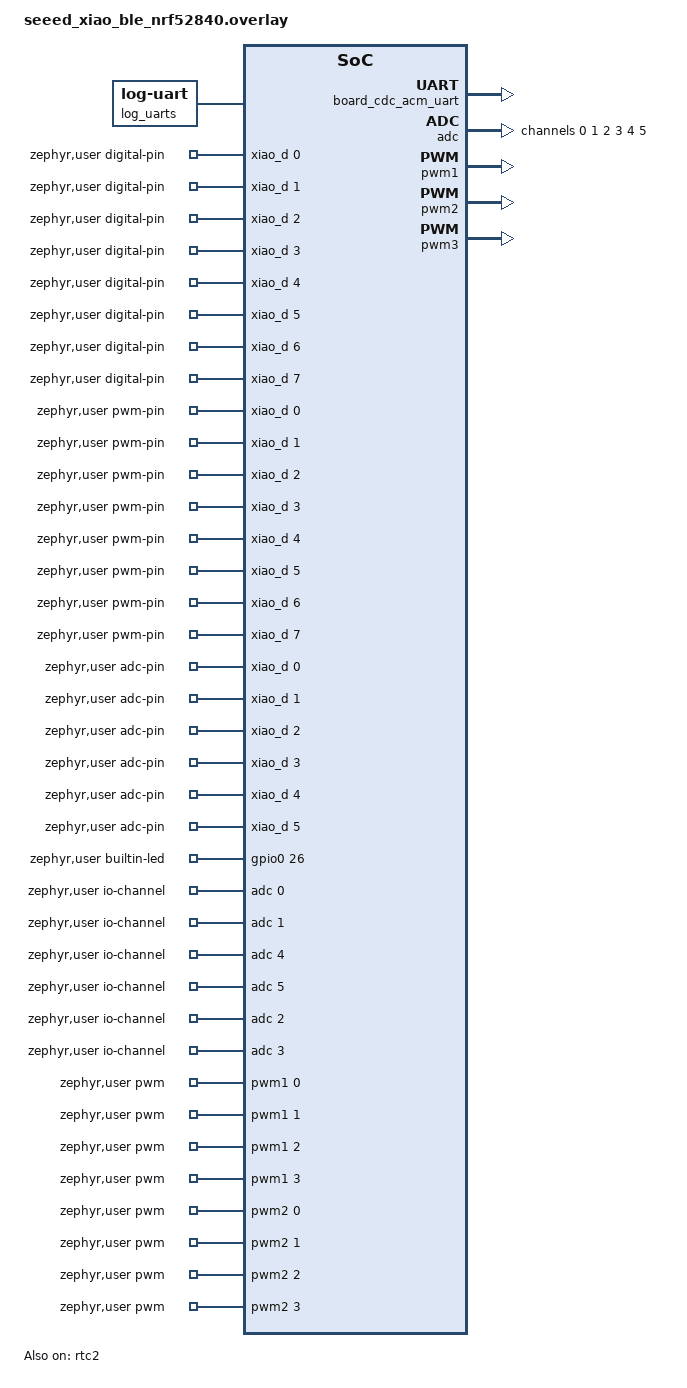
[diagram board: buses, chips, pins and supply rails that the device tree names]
/*
 * Copyright (c) 2026 Seeed Studio
 *
 * SPDX-License-Identifier: Apache-2.0
 */

&zephyr_udc0 {
	board_cdc_acm_uart: board_cdc_acm_uart {
		compatible = "zephyr,cdc-acm-uart";
		status = "okay";
	};
};

/*
 * Seeed Studio XIAO nRF52840 ships with the Adafruit nRF52 USB Bootloader
 * placed at the END of flash. The SoftDevice-reserved layout provided by
 * the board definition is preserved and a user sketch partition is carved
 * out of the Application partition.
 */
&flash0 {
	partitions {
		compatible = "fixed-partitions";
		#address-cells = <1>;
		#size-cells = <1>;

		code_partition: partition@27000 {
			label = "code";
			reg = <0x00027000 0x00059000>;
			read-only;
		};

		user_sketch: partition@80000 {
			label = "user";
			reg = <0x00080000 0x0006c000>;
		};

		storage_partition: partition@ec000 {
			label = "storage";
			reg = <0x000ec000 0x00008000>;
		};

		boot_partition: partition@f4000 {
			label = "UF2";
			reg = <0x000f4000 0x0000c000>;
			read-only;
		};
	};
};

/ {
	chosen {
		zephyr,log-uart = &log_uarts;
	};

	log_uarts: log_uarts {
		compatible = "zephyr,log-uart";
		uarts = <&uart0 &board_cdc_acm_uart>;
	};
};

/ {
	zephyr,user {
		digital-pin-gpios = <&xiao_d 0 0>,	/* D0  - P0.02 / AIN0 */
				    <&xiao_d 1 0>,	/* D1  - P0.03 / AIN1 */
				    <&xiao_d 2 0>,	/* D2  - P0.28 / AIN4 */
				    <&xiao_d 3 0>,	/* D3  - P0.29 / AIN5 */
				    <&xiao_d 4 0>,	/* D4  - P0.04 / AIN2 / SDA */
				    <&xiao_d 5 0>,	/* D5  - P0.05 / AIN3 / SCL */
				    <&xiao_d 6 0>,	/* D6  - P1.11 / TX */
				    <&xiao_d 7 0>,	/* D7  - P1.12 / RX */
				    <&xiao_d 8 0>,	/* D8  - P1.13 / SCK */
				    <&xiao_d 9 0>,	/* D9  - P1.14 / MISO */
				    <&xiao_d 10 0>,	/* D10 - P1.15 / MOSI */
				    <&gpio0 26 0>,	/* D11 - LED R */
				    <&gpio0 6 0>,	/* D12 - LED B */
				    <&gpio0 30 0>;	/* D13 - LED G */

		pwm-pin-gpios =	    <&xiao_d 0 0>,
				    <&xiao_d 1 0>,
				    <&xiao_d 2 0>,
				    <&xiao_d 3 0>,
				    <&xiao_d 4 0>,
				    <&xiao_d 5 0>,
				    <&xiao_d 6 0>,
				    <&xiao_d 7 0>,
				    <&xiao_d 8 0>,
				    <&xiao_d 9 0>,
				    <&xiao_d 10 0>;

		adc-pin-gpios =	    <&xiao_d 0 0>,	/* A0 */
				    <&xiao_d 1 0>,	/* A1 */
				    <&xiao_d 2 0>,	/* A2 */
				    <&xiao_d 3 0>,	/* A3 */
				    <&xiao_d 4 0>,	/* A4 */
				    <&xiao_d 5 0>;	/* A5 */

		builtin-led-gpios = <&gpio0 26 0>;	/* LED R */

		pwms =	<&pwm1 0 PWM_HZ(500) PWM_POLARITY_NORMAL>,
			<&pwm1 1 PWM_HZ(500) PWM_POLARITY_NORMAL>,
			<&pwm1 2 PWM_HZ(500) PWM_POLARITY_NORMAL>,
			<&pwm1 3 PWM_HZ(500) PWM_POLARITY_NORMAL>,
			<&pwm2 0 PWM_HZ(500) PWM_POLARITY_NORMAL>,
			<&pwm2 1 PWM_HZ(500) PWM_POLARITY_NORMAL>,
			<&pwm2 2 PWM_HZ(500) PWM_POLARITY_NORMAL>,
			<&pwm2 3 PWM_HZ(500) PWM_POLARITY_NORMAL>,
			<&pwm3 0 PWM_HZ(500) PWM_POLARITY_NORMAL>,
			<&pwm3 1 PWM_HZ(500) PWM_POLARITY_NORMAL>,
			<&pwm3 2 PWM_HZ(500) PWM_POLARITY_NORMAL>;

		io-channels =	<&adc 0>,	/* AIN0 */
				<&adc 1>,	/* AIN1 */
				<&adc 4>,	/* AIN4 */
				<&adc 5>,	/* AIN5 */
				<&adc 2>,	/* AIN2 */
				<&adc 3>;	/* AIN3 */

		cdc-acm-serial = <&board_cdc_acm_uart>; /* 'Serial' object is managed by SerialUSB */
		serials = <&uart0>; /* 'Serial1' onwards, D6 (TX), D7 (RX) */
		i2cs = <&i2c1>; /* 'Wire', D4 (SDA), D5 (SCL) */
		spis = <&spi2>; /* 'SPI', D8 (SCK), D9 (MISO), D10 (MOSI) */
	};
};

&adc {
	#address-cells = <1>;
	#size-cells = <0>;

	channel@0 {
		reg = <0>;
		zephyr,gain = "ADC_GAIN_1_6";
		zephyr,reference = "ADC_REF_INTERNAL";
		zephyr,acquisition-time = <ADC_ACQ_TIME_DEFAULT>;
		zephyr,input-positive = <NRF_SAADC_AIN0>; /* P0.02 */
		zephyr,resolution = <12>;
	};

	channel@1 {
		reg = <1>;
		zephyr,gain = "ADC_GAIN_1_6";
		zephyr,reference = "ADC_REF_INTERNAL";
		zephyr,acquisition-time = <ADC_ACQ_TIME_DEFAULT>;
		zephyr,input-positive = <NRF_SAADC_AIN1>; /* P0.03 */
		zephyr,resolution = <12>;
	};

	channel@2 {
		reg = <2>;
		zephyr,gain = "ADC_GAIN_1_6";
		zephyr,reference = "ADC_REF_INTERNAL";
		zephyr,acquisition-time = <ADC_ACQ_TIME_DEFAULT>;
		zephyr,input-positive = <NRF_SAADC_AIN2>; /* P0.04 */
		zephyr,resolution = <12>;
	};

	channel@3 {
		reg = <3>;
		zephyr,gain = "ADC_GAIN_1_6";
		zephyr,reference = "ADC_REF_INTERNAL";
		zephyr,acquisition-time = <ADC_ACQ_TIME_DEFAULT>;
		zephyr,input-positive = <NRF_SAADC_AIN3>; /* P0.05 */
		zephyr,resolution = <12>;
	};

	channel@4 {
		reg = <4>;
		zephyr,gain = "ADC_GAIN_1_6";
		zephyr,reference = "ADC_REF_INTERNAL";
		zephyr,acquisition-time = <ADC_ACQ_TIME_DEFAULT>;
		zephyr,input-positive = <NRF_SAADC_AIN4>; /* P0.28 */
		zephyr,resolution = <12>;
	};

	channel@5 {
		reg = <5>;
		zephyr,gain = "ADC_GAIN_1_6";
		zephyr,reference = "ADC_REF_INTERNAL";
		zephyr,acquisition-time = <ADC_ACQ_TIME_DEFAULT>;
		zephyr,input-positive = <NRF_SAADC_AIN5>; /* P0.29 */
		zephyr,resolution = <12>;
	};
};

&pinctrl {
	empty_default: empty_default {
		group1 {
			psels = <>;
		};
	};

	pwm1_default: pwm1_default {
		group1 {
			psels = <NRF_PSEL(PWM_OUT0, 0, 2)>,	/* D0 */
				<NRF_PSEL(PWM_OUT1, 0, 3)>,	/* D1 */
				<NRF_PSEL(PWM_OUT2, 0, 28)>,	/* D2 */
				<NRF_PSEL(PWM_OUT3, 0, 29)>;	/* D3 */
		};
	};

	pwm1_sleep: pwm1_sleep {
		group1 {
			psels = <NRF_PSEL(PWM_OUT0, 0, 2)>,
				<NRF_PSEL(PWM_OUT1, 0, 3)>,
				<NRF_PSEL(PWM_OUT2, 0, 28)>,
				<NRF_PSEL(PWM_OUT3, 0, 29)>;
				low-power-enable;
		};
	};

	pwm2_default: pwm2_default {
		group1 {
			psels = <NRF_PSEL(PWM_OUT0, 0, 4)>,	/* D4 */
				<NRF_PSEL(PWM_OUT1, 0, 5)>,	/* D5 */
				<NRF_PSEL(PWM_OUT2, 1, 11)>,	/* D6 */
				<NRF_PSEL(PWM_OUT3, 1, 12)>;	/* D7 */
		};
	};

	pwm2_sleep: pwm2_sleep {
		group1 {
			psels = <NRF_PSEL(PWM_OUT0, 0, 4)>,
				<NRF_PSEL(PWM_OUT1, 0, 5)>,
				<NRF_PSEL(PWM_OUT2, 1, 11)>,
				<NRF_PSEL(PWM_OUT3, 1, 12)>;
				low-power-enable;
		};
	};

	pwm3_default: pwm3_default {
		group1 {
			psels = <NRF_PSEL(PWM_OUT0, 1, 13)>,	/* D8 */
				<NRF_PSEL(PWM_OUT1, 1, 14)>,	/* D9 */
				<NRF_PSEL(PWM_OUT2, 1, 15)>;	/* D10 */
		};
	};

	pwm3_sleep: pwm3_sleep {
		group1 {
			psels = <NRF_PSEL(PWM_OUT0, 1, 13)>,
				<NRF_PSEL(PWM_OUT1, 1, 14)>,
				<NRF_PSEL(PWM_OUT2, 1, 15)>;
				low-power-enable;
		};
	};
};

&pwm1 {
	status = "okay";
	zephyr,deferred-init;
	pinctrl-0 = <&empty_default>;
	pinctrl-1 = <&pwm1_sleep>;
	pinctrl-2 = <&pwm1_default>;
	pinctrl-names = "default", "sleep", "arduino";
};

&pwm2 {
	status = "okay";
	zephyr,deferred-init;
	pinctrl-0 = <&empty_default>;
	pinctrl-1 = <&pwm2_sleep>;
	pinctrl-2 = <&pwm2_default>;
	pinctrl-names = "default", "sleep", "arduino";
};

&pwm3 {
	status = "okay";
	zephyr,deferred-init;
	pinctrl-0 = <&empty_default>;
	pinctrl-1 = <&pwm3_sleep>;
	pinctrl-2 = <&pwm3_default>;
	pinctrl-names = "default", "sleep", "arduino";
};

&i2c1 {
	zephyr,deferred-init;
};

&spi2 {
	zephyr,deferred-init;
};
&rtc2 {
    status = "okay";
    clock-frequency = <32768>;
    prescaler = <1>;
};
